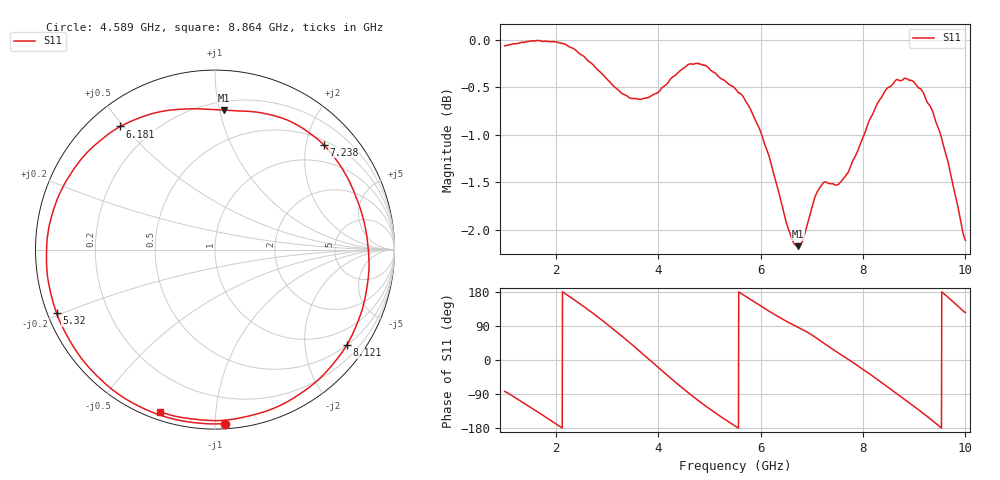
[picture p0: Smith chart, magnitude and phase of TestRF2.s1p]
# GHz S MA R 50
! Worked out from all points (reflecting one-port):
!   1601 points, 1 GHz to 10 GHz, reference 50 ohm
!   lowest |S11| = -2.2 dB at 6.732 GHz (marker M1), VSWR 8.04, Z = 13 + j51.5 ohm
!   phase of S11 starts at -83 deg and turns -872 deg over the sweep
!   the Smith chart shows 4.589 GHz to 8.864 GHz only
!   S11 on the Smith chart (normalised r, x): 4.589 GHz: 0.03, -1.06; 5.32 GHz: 0.03, -0.19; 6.181 GHz: 0.09, +0.49; 7.238 GHz: 0.59, +2.35; 8.121 GHz: 0.50, -3.00; 8.864 GHz: 0.04, -0.72
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1  0.9929 -83.0
1.5175  0.9986 -125.9
2.125  0.9958 -179.5
2.42875  0.9853 152.3
2.76625  0.9678 119.1
3.25  0.9393 67.7
3.559375  0.9314 32.3
3.82375  0.933 1.2
4.088125  0.9443 -29.9
4.375  0.9603 -62.9
4.58875  0.9707 -86.6
4.909375  0.9696 -119.9
5.32  0.9508 -158.2
5.5  0.9429 -174.0
5.809375  0.9184 159.0
6.180625  0.8657 127.6
6.625  0.7842 93.6
6.731875  0.7788 86.4
7.238125  0.8417 44.0
7.75  0.8567 -1.8
8.12125  0.9068 -36.0
8.509375  0.9445 -73.7
8.86375  0.9538 -108.8
8.875  0.9534 -110.0
9.184375  0.9371 -141.6
9.46  0.9001 -171.4
9.69625  0.8538 161.3
10  0.7844 125.0
